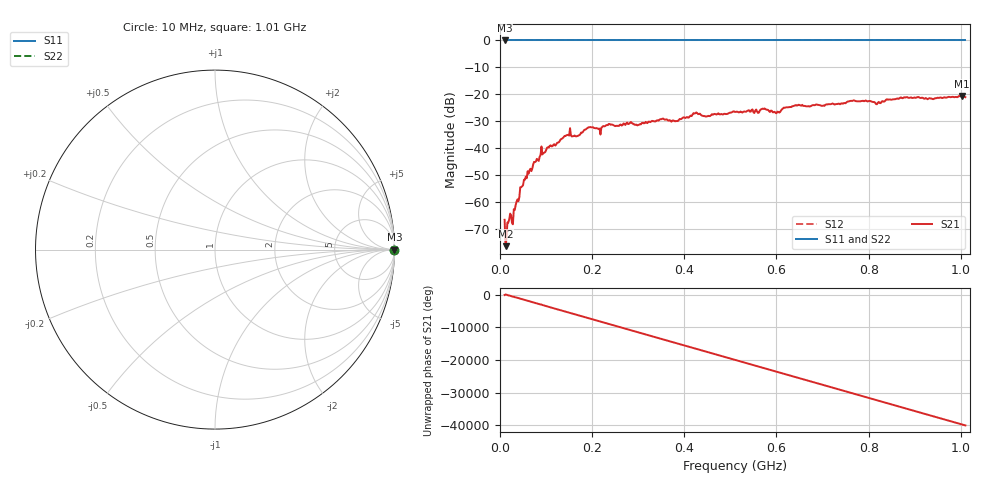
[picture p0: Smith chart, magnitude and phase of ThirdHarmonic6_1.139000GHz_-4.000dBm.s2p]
! 8/16/2025 11:09:59 AM
! C:\ANRITSUVNA\TEMP\TEMP.S2P
! CHANNEL.1
! TR.MEASUREMENT
! RAW.DATA
! RF.CORRECTION.OFF
! AVERAGING.OFF
! IF.BANDWIDTH: 5KHZ
! SWEEPTYPE:  FREQ.SWEEP(Linear)
! Reference Plane Port Info
! PORT:  PORT1  PORT2
! DISTANCE:  0  m  0  m
! TIME:  0  s  0  s
! PHASE.OFFSET:  0  deg.  0  deg.
! LOSS:  0  dB  0  dB
! REF.LOSS:  0  dB  0  dB
! REF.FREQ:  0  Hz  0  Hz
! Power Info
! POWER:  -20  dBm  -20  dBm
! EFF.POWER:  -20  dBm  -20  dBm
! SOURCE.ATTEN:  0  dB  0  dB
! TEST.ATTEN:  0  dB  0  dB
# GHZ S RI R 50.0
! FREQ.GHZ  S11RE  S11IM  S21RE  S21IM  S12RE  S12IM  S22RE  S22IM
!; PortSelection: Port_12
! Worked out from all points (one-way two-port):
!   501 points, 10 MHz to 1.01 GHz, reference 50 ohm
!   highest |S21| = -20.58 dB at 1.002 GHz (marker M1); lowest = -76.4 dB at 12 MHz (marker M2)
!   lowest |S11| = 0.0 dB at 10 MHz (marker M3)
!   |S11| at or under -10 dB: nowhere
!   |S22| runs from 0.0 to 0.0 dB; largest |S21 - S12| = 1.1
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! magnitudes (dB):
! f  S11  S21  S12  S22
! 10 MHz  0.0  -66.6  0.0  0.0
! 12 MHz  0.0  -76.4  0.0  0.0
! 16 MHz  0.0  -67.6  0.0  0.0
! 20 MHz  0.0  -66.4  0.0  0.0
! 30 MHz  0.0  -62.6  0.0  0.0
! 34 MHz  0.0  -61.1  0.0  0.0
! 56 MHz  0.0  -50.5  0.0  0.0
! 90 MHz  0.0  -39.4  0.0  0.0
! 148 MHz  0.0  -35.1  0.0  0.0
! 178 MHz  0.0  -34.3  0.0  0.0
! 196 MHz  0.0  -32.1  0.0  0.0
! 216 MHz  0.0  -32.7  0.0  0.0
! 234 MHz  0.0  -31.4  0.0  0.0
! 344 MHz  0.0  -29.8  0.0  0.0
! 510 MHz  0.0  -26.5  0.0  0.0
! 572 MHz  0.0  -25.4  0.0  0.0
! 602 MHz  0.0  -26.4  0.0  0.0
! 638 MHz  0.0  -24.3  0.0  0.0
! 678 MHz  0.0  -24.1  0.0  0.0
! 844 MHz  0.0  -21.9  0.0  0.0
! 1.002 GHz  0.0  -20.6  0.0  0.0
! 1.01 GHz  0.0  -21.1  0.0  0.0
